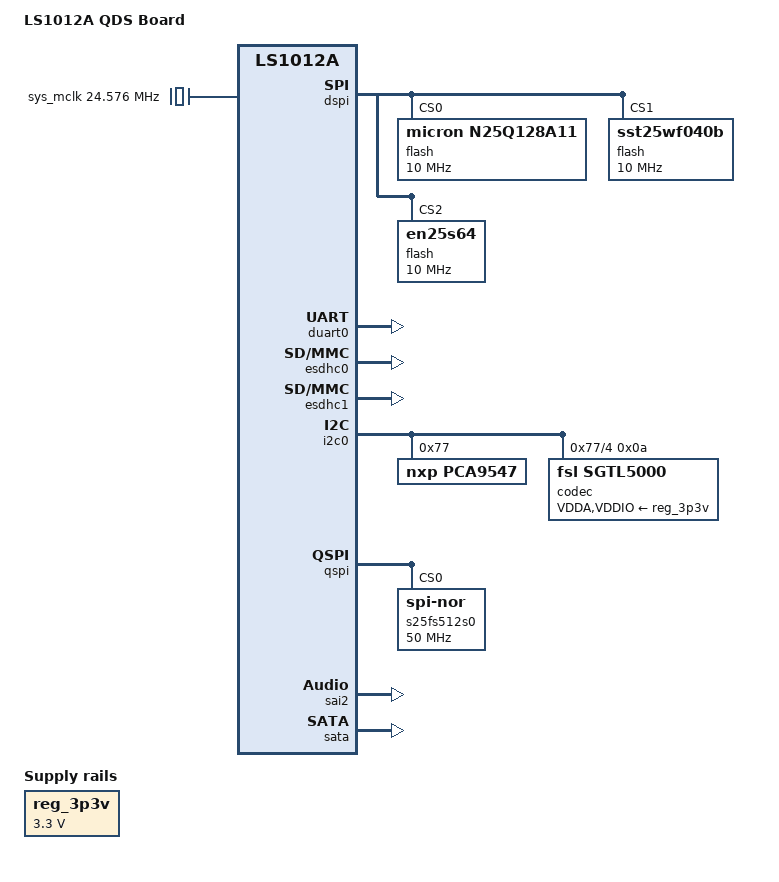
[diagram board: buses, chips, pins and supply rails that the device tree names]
// SPDX-License-Identifier: (GPL-2.0+ OR MIT)
/*
 * Device Tree file for Freescale LS1012A QDS Board.
 *
 * Copyright 2016 Freescale Semiconductor, Inc.
 *
 */
/dts-v1/;

#include "fsl-ls1012a.dtsi"

/ {
	model = "LS1012A QDS Board";
	compatible = "fsl,ls1012a-qds", "fsl,ls1012a";

	aliases {
		mmc0 = &esdhc0;
		mmc1 = &esdhc1;
	};

	sys_mclk: clock-mclk {
		compatible = "fixed-clock";
		#clock-cells = <0>;
		clock-frequency = <24576000>;
	};

	reg_3p3v: regulator-3p3v {
		compatible = "regulator-fixed";
		regulator-name = "3P3V";
		regulator-min-microvolt = <3300000>;
		regulator-max-microvolt = <3300000>;
		regulator-always-on;
	};

	sound {
		compatible = "simple-audio-card";
		simple-audio-card,format = "i2s";
		simple-audio-card,widgets =
			"Microphone", "Microphone Jack",
			"Headphone", "Headphone Jack",
			"Speaker", "Speaker Ext",
			"Line", "Line In Jack";
		simple-audio-card,routing =
			"MIC_IN", "Microphone Jack",
			"Microphone Jack", "Mic Bias",
			"LINE_IN", "Line In Jack",
			"Headphone Jack", "HP_OUT",
			"Speaker Ext", "LINE_OUT";

		simple-audio-card,cpu {
			sound-dai = <&sai2>;
			frame-master;
			bitclock-master;
		};

		simple-audio-card,codec {
			sound-dai = <&codec>;
			frame-master;
			bitclock-master;
			system-clock-frequency = <24576000>;
		};
	};
};

&dspi {
	bus-num = <0>;
	status = "okay";

	flash@0 {
		#address-cells = <1>;
		#size-cells = <1>;
		compatible = "micron,n25q128a11", "jedec,spi-nor";
		reg = <0>;
		spi-max-frequency = <10000000>;
	};

	flash@1 {
		#address-cells = <1>;
		#size-cells = <1>;
		compatible = "sst25wf040b", "jedec,spi-nor";
		spi-cpol;
		spi-cpha;
		reg = <1>;
		spi-max-frequency = <10000000>;
	};

	flash@2 {
		#address-cells = <1>;
		#size-cells = <1>;
		compatible = "en25s64", "jedec,spi-nor";
		spi-cpol;
		spi-cpha;
		reg = <2>;
		spi-max-frequency = <10000000>;
	};
};

&duart0 {
	status = "okay";
};

&esdhc0 {
	status = "okay";
};

&esdhc1 {
	status = "okay";
};

&i2c0 {
	status = "okay";

	pca9547@77 {
		compatible = "nxp,pca9547";
		reg = <0x77>;
		#address-cells = <1>;
		#size-cells = <0>;

		i2c@4 {
			#address-cells = <1>;
			#size-cells = <0>;
			reg = <0x4>;

			codec: sgtl5000@a {
				#sound-dai-cells = <0>;
				compatible = "fsl,sgtl5000";
				reg = <0xa>;
				VDDA-supply = <&reg_3p3v>;
				VDDIO-supply = <&reg_3p3v>;
				clocks = <&sys_mclk>;
			};
		};
	};
};

&qspi {
	status = "okay";

	s25fs512s0: flash@0 {
		compatible = "jedec,spi-nor";
		#address-cells = <1>;
		#size-cells = <1>;
		spi-max-frequency = <50000000>;
		m25p,fast-read;
		reg = <0>;
		spi-rx-bus-width = <2>;
		spi-tx-bus-width = <2>;
	};
};

&sai2 {
	status = "okay";
};

&sata {
	status = "okay";
};
